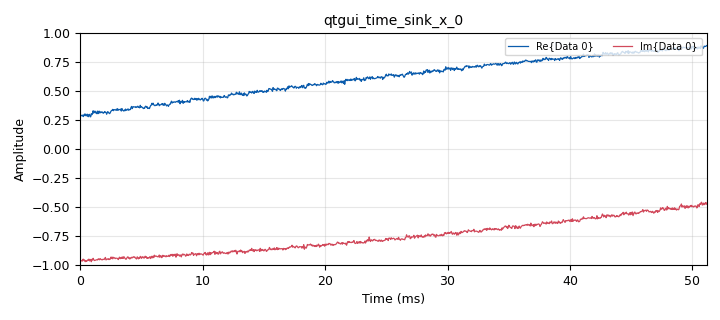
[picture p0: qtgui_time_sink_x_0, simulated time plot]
options:
  parameters:
    generate_options: qt_gui
    id: Labo_8
    output_language: python
    title: Oefening 2
  states: {}

blocks:
- name: afstand
  id: variable_qtgui_range
  parameters:
    start: '0.01'
    step: '0.01'
    stop: '2'
    value: '0.01'
  states: {}
- name: samp_rate
  id: variable
  parameters:
    value: '32000'
  states: {}
- name: analog_sig_source_x_0
  id: analog_sig_source_x
  parameters:
    amp: '126'
    freq: '100'
    offset: '127'
    phase: '0'
    samp_rate: samp_rate
    type: complex
    waveform: analog.GR_COS_WAVE
  states: {}
- name: analog_sig_source_x_0_0
  id: analog_sig_source_x
  parameters:
    amp: '126'
    freq: '100'
    offset: '127'
    phase: '0'
    samp_rate: samp_rate
    type: complex
    waveform: analog.GR_COS_WAVE
  states: {state: disabled}
- name: blocks_delay_0
  id: blocks_delay
  parameters:
    delay: '8'
    type: complex
  states: {}
- name: blocks_keep_m_in_n_0
  id: blocks_keep_m_in_n
  parameters:
    m: '1'
    n: '2'
    offset: '0'
    type: byte
  states: {state: disabled}
- name: blocks_keep_m_in_n_0_0
  id: blocks_keep_m_in_n
  parameters:
    m: '1'
    n: '2'
    offset: '1'
    type: byte
  states: {state: disabled}
- name: blocks_throttle2_0
  id: blocks_throttle2
  parameters:
    samples_per_second: samp_rate
    type: byte
  states: {state: disabled}
- name: blocks_throttle2_0_0
  id: blocks_throttle2
  parameters:
    samples_per_second: samp_rate
    type: complex
  states: {state: disabled}
- name: blocks_throttle2_1
  id: blocks_throttle2
  parameters:
    samples_per_second: samp_rate
    type: complex
  states: {}
- name: blocks_vector_source_x_0
  id: blocks_vector_source_x
  parameters:
    repeat: 'True'
    type: byte
    vector: (0b01101001, 0b00110011)
  states: {state: disabled}
- name: blocks_vector_to_streams_0
  id: blocks_vector_to_streams
  parameters:
    num_streams: '1'
    type: byte
  states: {state: disabled}
- name: channels_channel_model_0
  id: channels_channel_model
  parameters:
    epsilon: '1.0'
    freq_offset: '0.0'
    noise_voltage: afstand
    seed: '0'
    taps: '1.0'
  states: {}
- name: digital_gfsk_demod_0
  id: digital_gfsk_demod
  parameters:
    freq_error: '0.0'
    gain_mu: '0.175'
    mu: '0.5'
    omega_relative_limit: '0.005'
    samples_per_symbol: '2'
    sensitivity: '1.0'
  states: {state: disabled}
- name: digital_gfsk_mod_0
  id: digital_gfsk_mod
  parameters:
    bt: '0.35'
    samples_per_symbol: '2'
    sensitivity: '1.0'
  states: {state: disabled}
- name: digital_psk_demod_0
  id: digital_psk_demod
  parameters:
    constellation_points: '256'
    differential: 'True'
    excess_bw: '0.35'
    freq_bw: 6.28/100.0
    mod_code: '"gray"'
    phase_bw: 6.28/100.0
    samples_per_symbol: '4'
    timing_bw: 6.28/100.0
  states: {}
- name: digital_psk_mod_0
  id: digital_psk_mod
  parameters:
    constellation_points: '256'
    differential: 'True'
    excess_bw: '0.35'
    mod_code: '"gray"'
    samples_per_symbol: '4'
  states: {}
- name: qtgui_number_sink_0
  id: qtgui_number_sink
  parameters:
    graph_type: qtgui.NUM_GRAPH_VERT
    max: '150'
    min: '0'
    type: byte
  states: {state: disabled}
- name: qtgui_number_sink_0_0
  id: qtgui_number_sink
  parameters:
    graph_type: qtgui.NUM_GRAPH_VERT
    max: '150'
    min: '0'
    type: byte
  states: {state: disabled}
- name: qtgui_time_sink_x_0
  id: qtgui_time_sink_x
  parameters:
    ctrlpanel: 'True'
    size: '1024'
    srate: 20e3
    type: complex
  states: {}
- name: qtgui_time_sink_x_1
  id: qtgui_time_sink_x
  parameters:
    size: '1024'
    srate: 20e3
    type: complex
  states: {state: disabled}

connections:
- [analog_sig_source_x_0, '0', blocks_throttle2_1, '0']
- [analog_sig_source_x_0_0, '0', blocks_throttle2_0_0, '0']
- [blocks_delay_0, '0', channels_channel_model_0, '0']
- [blocks_keep_m_in_n_0, '0', qtgui_number_sink_0, '0']
- [blocks_keep_m_in_n_0_0, '0', qtgui_number_sink_0_0, '0']
- [blocks_throttle2_0, '0', blocks_vector_to_streams_0, '0']
- [blocks_throttle2_0_0, '0', digital_gfsk_demod_0, '0']
- [blocks_throttle2_1, '0', digital_psk_demod_0, '0']
- [blocks_vector_source_x_0, '0', blocks_throttle2_0, '0']
- [blocks_vector_to_streams_0, '0', blocks_keep_m_in_n_0, '0']
- [blocks_vector_to_streams_0, '0', blocks_keep_m_in_n_0_0, '0']
- [channels_channel_model_0, '0', qtgui_time_sink_x_0, '0']
- [digital_gfsk_demod_0, '0', digital_gfsk_mod_0, '0']
- [digital_gfsk_mod_0, '0', qtgui_time_sink_x_1, '0']
- [digital_psk_demod_0, '0', digital_psk_mod_0, '0']
- [digital_psk_mod_0, '0', blocks_delay_0, '0']

metadata:
  file_format: 1
  grc_version: 3.10.7.0
